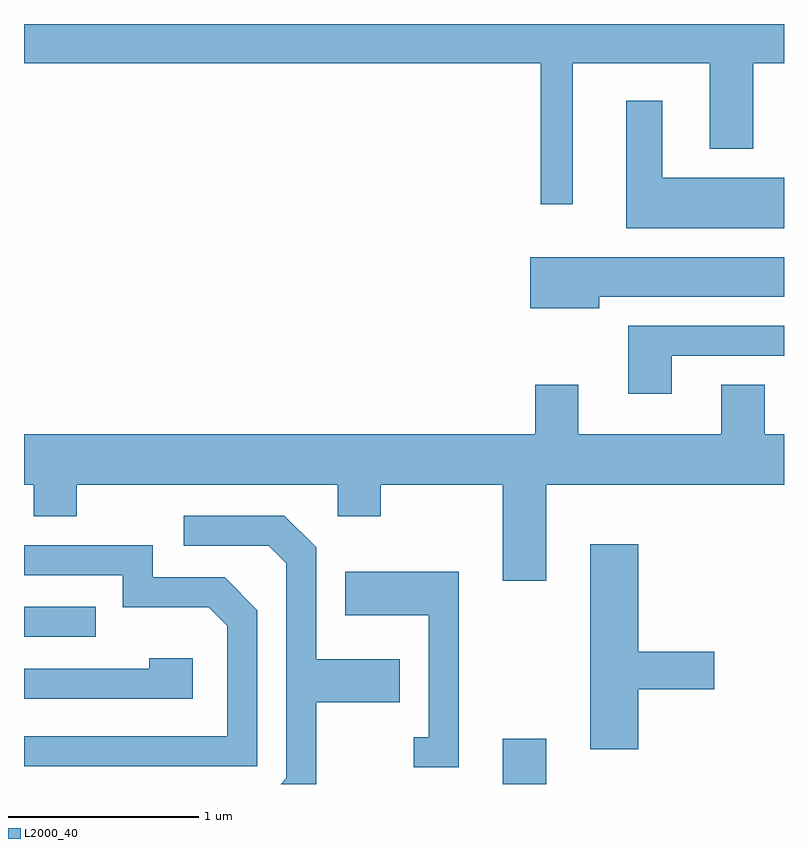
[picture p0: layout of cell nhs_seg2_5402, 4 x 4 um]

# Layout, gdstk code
import gdstk
lib = gdstk.Library(unit=1e-6, precision=1e-09)
def R(c, l, rs):  # rectangles x0, y0, x1, y1
    for r in rs: c.add(gdstk.rectangle(r[:2], r[2:], *l))
def P(c, l, *ps):  # polygons
    for p in ps: c.add(gdstk.Polygon(p, *l))
L2000_40 = (2000, 40)

nhs_seg2_5402 = lib.new_cell('nhs_seg2_5402')
R(nhs_seg2_5402, L2000_40, [(346.131,1097.802,346.359,1098.039), (343.611,1098.576,343.988,1098.734)])
P(nhs_seg2_5402, L2000_40, [(346.499,1101.596),(347.221,1101.596),(347.221,1101.146),(347.449,1101.146),(347.449,1101.596),(347.611,1101.596),(347.611,1101.802),(343.611,1101.802),(343.611,1101.596),(346.331,1101.596),(346.331,1100.853),(346.499,1100.853)],
  [(347.611,1100.994),(346.969,1100.994),(346.969,1101.399),(346.781,1101.399),(346.781,1100.726),(347.611,1100.726)],
  [(346.639,1100.366),(347.611,1100.366),(347.611,1100.574),(346.276,1100.574),(346.276,1100.306),(346.639,1100.306)],
  [(347.019,1100.056),(347.611,1100.056),(347.611,1100.214),(346.791,1100.214),(346.791,1099.856),(347.019,1099.856)],
  [(346.359,1099.376),(347.611,1099.376),(347.611,1099.644),(347.509,1099.644),(347.509,1099.904),(347.281,1099.904),(347.281,1099.644),(346.529,1099.644),(346.529,1099.904),(346.301,1099.904),(346.301,1099.644),(343.611,1099.644),(343.611,1099.376),(343.661,1099.376),(343.661,1099.211),(343.889,1099.211),(343.889,1099.376),(345.261,1099.376),(345.261,1099.211),(345.489,1099.211),(345.489,1099.376),(346.131,1099.376),(346.131,1098.871),(346.359,1098.871)],
  [(345.149,1098.231),(345.589,1098.231),(345.589,1098.459),(345.149,1098.459),(345.149,1099.047),(344.982,1099.214),(344.453,1099.214),(344.453,1099.056),(344.899,1099.056),(344.991,1098.964),(344.991,1097.832),(344.961,1097.802),(345.149,1097.802)],
  [(346.844,1098.301),(347.244,1098.301),(347.244,1098.499),(346.844,1098.499),(346.844,1099.064),(346.591,1099.064),(346.591,1097.986),(346.844,1097.986)],
  [(344.839,1098.717),(344.667,1098.889),(344.289,1098.889),(344.289,1099.059),(343.611,1099.059),(343.611,1098.901),(344.131,1098.901),(344.131,1098.731),(344.584,1098.731),(344.681,1098.634),(344.681,1098.054),(343.611,1098.054),(343.611,1097.896),(344.839,1097.896)],
  [(345.899,1098.919),(345.301,1098.919),(345.301,1098.691),(345.741,1098.691),(345.741,1098.049),(345.663,1098.049),(345.663,1097.891),(345.899,1097.891)],
  [(344.499,1098.464),(344.271,1098.464),(344.271,1098.409),(343.611,1098.409),(343.611,1098.251),(344.499,1098.251)])

lib.write_gds('nhs_seg2_5402.gds')
